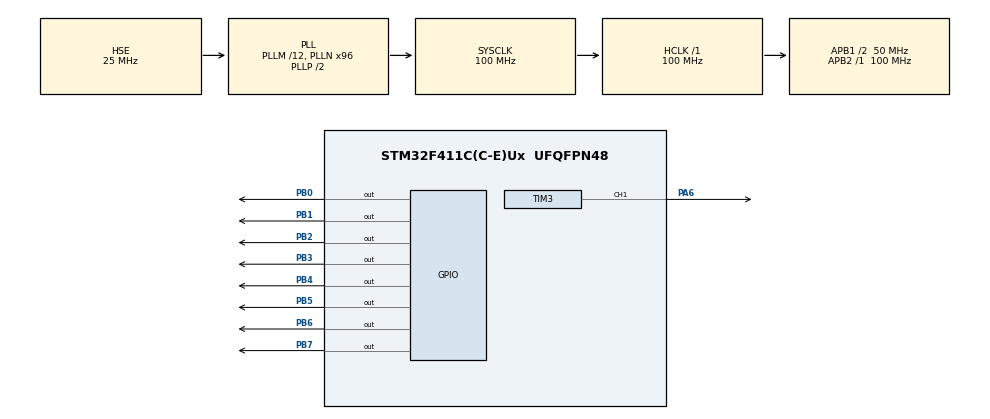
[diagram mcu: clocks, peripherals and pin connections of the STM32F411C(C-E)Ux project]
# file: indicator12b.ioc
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Mcu.Family=STM32F4
Mcu.Name=STM32F411C(C-E)Ux
Mcu.Package=UFQFPN48
NVIC.PriorityGroup=NVIC_PRIORITYGROUP_4
PA6.Signal=S_TIM3_CH1
PB0.Signal=GPIO_Output
PB1.Signal=GPIO_Output
PB2.Signal=GPIO_Output
PB3.Signal=GPIO_Output
PB4.Signal=GPIO_Output
PB5.Signal=GPIO_Output
PB6.Signal=GPIO_Output
PB7.Signal=GPIO_Output
PH0\ -\ OSC_IN.Mode=HSE-External-Oscillator
PH0\ -\ OSC_IN.Signal=RCC_OSC_IN
PH1\ -\ OSC_OUT.Mode=HSE-External-Oscillator
PH1\ -\ OSC_OUT.Signal=RCC_OSC_OUT
ProjectManager.HeapSize=0x200
ProjectManager.StackSize=0x400
ProjectManager.TargetToolchain=CMake
RCC.48MHZClocksFreq_Value=50000000
RCC.AHBFreq_Value=100000000
RCC.APB1CLKDivider=RCC_HCLK_DIV2
RCC.APB1Freq_Value=50000000
RCC.APB1TimFreq_Value=100000000
RCC.APB2Freq_Value=100000000
RCC.APB2TimFreq_Value=100000000
RCC.CortexFreq_Value=100000000
RCC.HCLKFreq_Value=100000000
RCC.HSE_VALUE=25000000
RCC.HSI_VALUE=16000000
RCC.LSE_VALUE=32768
RCC.PLLM=12
RCC.PLLN=96
RCC.PLLSourceVirtual=RCC_PLLSOURCE_HSE
RCC.SYSCLKFreq_VALUE=100000000
RCC.SYSCLKSource=RCC_SYSCLKSOURCE_PLLCLK
RCC.VCOOutputFreq_Value=200000000
SH.S_TIM3_CH1.0=TIM3_CH1,PWM Generation1 CH1
TIM3.AutoReloadPreload=TIM_AUTORELOAD_PRELOAD_ENABLE
TIM3.Channel-PWM\ Generation1\ CH1=TIM_CHANNEL_1
TIM3.Period=999
TIM3.Pulse-PWM\ Generation1\ CH1=10
VP_TIM3_VS_ClockSourceINT.Mode=Internal
board=custom

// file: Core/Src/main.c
/* USER CODE BEGIN Header */
/**
  ******************************************************************************
  * @file           : main.c
  * @brief          : Main program body
  ******************************************************************************
  * @attention
  *
  * Copyright (c) 2026 STMicroelectronics.
  * All rights reserved.
  *
  * This software is licensed under terms that can be found in the LICENSE file
  * in the root directory of this software component.
  * If no LICENSE file comes with this software, it is provided AS-IS.
  *
  ******************************************************************************
  */
/* USER CODE END Header */
#include "main.h"
#include "tim.h"
#include "gpio.h"

/* USER CODE BEGIN PD */
/* USER CODE BEGIN Private defines */
/* USER CODE END Private defines */
/* USER CODE END PD */

void SystemClock_Config(void);

/* USER CODE BEGIN 0 */
/* USER CODE BEGIN 0 */
// Включение нужной лампы (анода). lamp = 0..3
void Set_Lamp(uint8_t lamp) {
    GPIOB->ODR &= ~(0xF0); // Гасим все
    if (lamp == 0) GPIOB->ODR |= (1 << 4);
    if (lamp == 1) GPIOB->ODR |= (1 << 5);
    if (lamp == 2) GPIOB->ODR |= (1 << 6);
    if (lamp == 3) GPIOB->ODR |= (1 << 7);
}

// Подача кода цифры на дешифратор (PB0-PB3)
void Set_Digit(uint8_t digit) {
    if (digit > 9) return;
    GPIOB->ODR &= ~(0x0F);  // очищаем младшие 4 бита
    GPIOB->ODR |= (digit & 0x0F); // записываем код 0-9
}
/* USER CODE END 0 */
/* USER CODE END 0 */

int main(void)
{

  /* MCU Configuration--------------------------------------------------------*/

  /* Reset of all peripherals, Initializes the Flash interface and the Systick. */
  HAL_Init();

  /* Configure the system clock */
  SystemClock_Config();

  /* Initialize all configured peripherals */
  MX_GPIO_Init();
  MX_TIM3_Init();
  /* USER CODE BEGIN 2 */
  /* USER CODE BEGIN 2 */
// Запускаем ШИМ для boost с заполнением 1%
HAL_TIM_PWM_Start(&htim3, TIM_CHANNEL_1);
__HAL_TIM_SET_COMPARE(&htim3, TIM_CHANNEL_1, 15); // 1%
HAL_Delay(1000); // Ждём стабилизации boost

// Выключаем все лампы на старте
Set_Lamp(255);
/* USER CODE END 2 */

  /* USER CODE END 2 */

  /* Infinite loop */
  /* USER CODE BEGIN WHILE */
uint8_t current_digit = 0;      // Текущая цифра, которую показываем (0-9)
uint32_t last_update = 0;       // Для отслеживания времени (раз в 1 секунду)

  while (1)
  {
    /* USER CODE END WHILE */
   /* USER CODE BEGIN 3 */
      for (uint8_t lamp = 0; lamp < 4; lamp++) {

        // Гасим все лампы (защита от призраков и сквозного тока)
        Set_Lamp(255);

        // Пауза для закрытия транзисторов (ваш рабочий тайминг)
        for (volatile uint32_t i = 0; i < 300; i++) { __NOP(); }

        // Подаем ОДНУ И ТУ ЖЕ цифру на все лампы
        Set_Digit(current_digit);

        // Включаем текущую лампу
        Set_Lamp(lamp);

        // Пауза для свечения (ваш рабочий тайминг)
        for (volatile uint32_t i = 0; i < 1000; i++) { __NOP(); }
    }

    // --- 2. ЛОГИКА СМЕНЫ ЦИФРЫ (раз в 1 секунду) ---
    if (HAL_GetTick() - last_update >= 1000) {
        last_update = HAL_GetTick(); // Запоминаем время

        current_digit++; // Увеличиваем цифру (0 -> 1 -> 2...)

        // Если дошли до 9, начинаем заново с 0
        if (current_digit > 9) {
            current_digit = 0;
        }
    }
}
  /* USER CODE END 3 */
}

void SystemClock_Config(void)
{
  RCC_OscInitTypeDef RCC_OscInitStruct = {0};
  RCC_ClkInitTypeDef RCC_ClkInitStruct = {0};

  /** Configure the main internal regulator output voltage
  */
  __HAL_RCC_PWR_CLK_ENABLE();
  __HAL_PWR_VOLTAGESCALING_CONFIG(PWR_REGULATOR_VOLTAGE_SCALE1);

  /** Initializes the RCC Oscillators according to the specified parameters
  * in the RCC_OscInitTypeDef structure.
  */
  RCC_OscInitStruct.OscillatorType = RCC_OSCILLATORTYPE_HSE;
  RCC_OscInitStruct.HSEState = RCC_HSE_ON;
  RCC_OscInitStruct.PLL.PLLState = RCC_PLL_ON;
  RCC_OscInitStruct.PLL.PLLSource = RCC_PLLSOURCE_HSE;
  RCC_OscInitStruct.PLL.PLLM = 12;
  RCC_OscInitStruct.PLL.PLLN = 96;
  RCC_OscInitStruct.PLL.PLLP = RCC_PLLP_DIV2;
  RCC_OscInitStruct.PLL.PLLQ = 4;
  if (HAL_RCC_OscConfig(&RCC_OscInitStruct) != HAL_OK)
  {
    Error_Handler();
  }

  /** Initializes the CPU, AHB and APB buses clocks
  */
  RCC_ClkInitStruct.ClockType = RCC_CLOCKTYPE_HCLK|RCC_CLOCKTYPE_SYSCLK
                              |RCC_CLOCKTYPE_PCLK1|RCC_CLOCKTYPE_PCLK2;
  RCC_ClkInitStruct.SYSCLKSource = RCC_SYSCLKSOURCE_PLLCLK;
  RCC_ClkInitStruct.AHBCLKDivider = RCC_SYSCLK_DIV1;
  RCC_ClkInitStruct.APB1CLKDivider = RCC_HCLK_DIV2;
  RCC_ClkInitStruct.APB2CLKDivider = RCC_HCLK_DIV1;

  if (HAL_RCC_ClockConfig(&RCC_ClkInitStruct, FLASH_LATENCY_3) != HAL_OK)
  {
    Error_Handler();
  }
}

void Error_Handler(void)
{
  __disable_irq();
  while (1)
  {
  }
}
